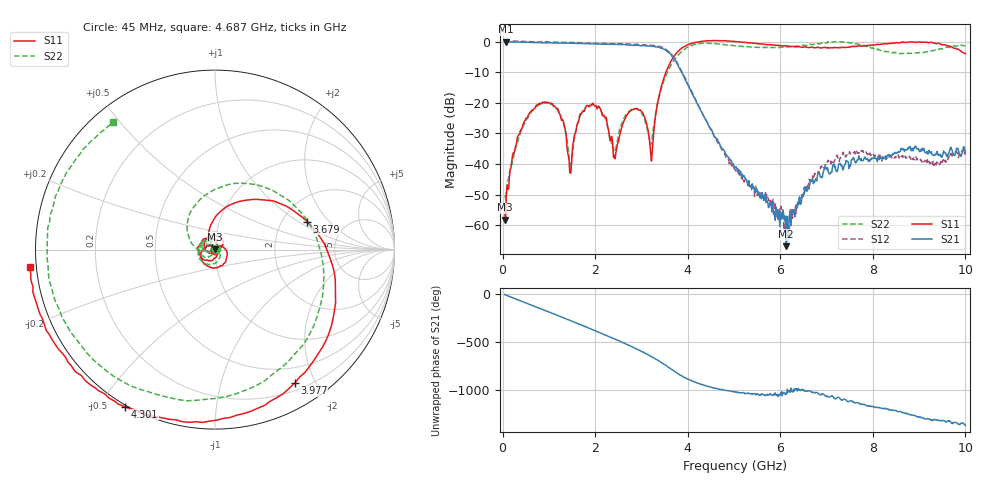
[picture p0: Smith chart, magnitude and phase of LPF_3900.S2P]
! C:\Users\Aljaz\Desktop\LPF_3900.S2P
! Touchstone 1.1 file saved by VNA.EXE V1.65 (www.ke5fx.com/gpib/readme.htm)
! 21. 07. 2022 18:11:16
!  Source: HP8510C.07.14: Aug 26  1998
!  Min freq: 4.500000E+007 Hz
!  Max freq: 1.000000E+010 Hz
!  Points: 801
!  Params: S11 S21 S12 S22
# GHZ S DB R 50
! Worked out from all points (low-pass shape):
!   801 points, 45 MHz to 10 GHz, reference 50 ohm
!   highest |S21| = -0.04 dB at 69.89 MHz (marker M1); lowest = -66.9 dB at 6.13 GHz (marker M2)
!   |S21| within 3 dB of the highest: start of sweep to 3.539 GHz
!   lowest |S11| = -58.2 dB at 57.44 MHz (marker M3), VSWR 1.00, Z = 50.1 + j0.0887 ohm
!   |S11| at or under -10 dB: start of sweep to 3.531 GHz
!   |S22| runs from -51.9 to 0.0 dB; largest |S21 - S12| = 0.046
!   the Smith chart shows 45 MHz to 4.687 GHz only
!   S11 on the Smith chart (normalised r, x): 45 MHz: 1.00, +0.00; 3.679 GHz: 2.73, +1.20; 3.977 GHz: 0.29, -1.72; 4.301 GHz: -0.01, -0.58; 4.687 GHz: -0.02, -0.05
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0.045  -53.02 13.5  -0.08 -8.2  0.28 -7.3  -50.23 13.6
0.05744375  -58.22 46.2  -0.06 -10.7  0.28 -10.1  -50.47 6.4
0.0698875  -57.30 38.7  -0.04 -13.0  0.29 -12.6  -51.90 14.2
0.492975  -25.61 10.4  -0.23 -93.3  0.03 -92.8  -26.36 -55.2
0.94095  -19.88 -103.3  -0.41 -178.0  -0.10 -177.5  -20.05 -149.9
1.451144  -42.49 88.0  -0.53 84.5  -0.28 85.0  -40.45 142.9
1.712462  -23.26 -115.6  -0.61 33.4  -0.40 33.9  -23.60 -141.1
2.284875  -28.61 78.8  -0.88 -81.7  -0.62 -81.3  -28.24 119.9
2.745294  -22.92 143.6  -1.14 -178.5  -0.81 -178.1  -22.66 170.7
3.205713  -37.29 43.0  -1.47 71.0  -1.19 71.5  -33.28 151.8
3.367481  -18.83 106.0  -1.83 25.6  -1.52 25.9  -18.92 172.3
3.678575  -5.40 16.9  -5.17 -75.4  -4.74 -75.8  -6.72 45.3
3.977225  -1.25 -59.2  -13.34 -159.4  -13.01 -162.1  -2.01 -73.8
4.300763  0.07 -119.8  -23.00 138.1  -22.89 134.8  -0.59 -161.8
4.686519  0.32 -174.6  -33.30 88.9  -33.95 88.0  -0.84 128.6
5.0225  0.02 145.6  -41.35 62.1  -41.91 60.2  -1.35 84.3
6.129994  -1.41 49.0  -66.87 55.4  -59.32 59.3  -1.83 -34.5
6.689963  -1.87 8.1  -44.99 60.5  -45.14 65.3  -1.01 -94.9
7.349481  -1.92 -40.5  -41.94 -23.9  -36.54 -23.2  -0.07 173.6
8.344981  -0.68 -112.9  -37.33 -122.9  -37.65 -140.1  -3.38 36.4
9.141381  -0.19 178.5  -36.32 141.4  -38.87 145.4  -3.33 -57.3
10  -3.93 96.2  -35.77 72.7  -35.80 100.9  -1.39 -168.7
